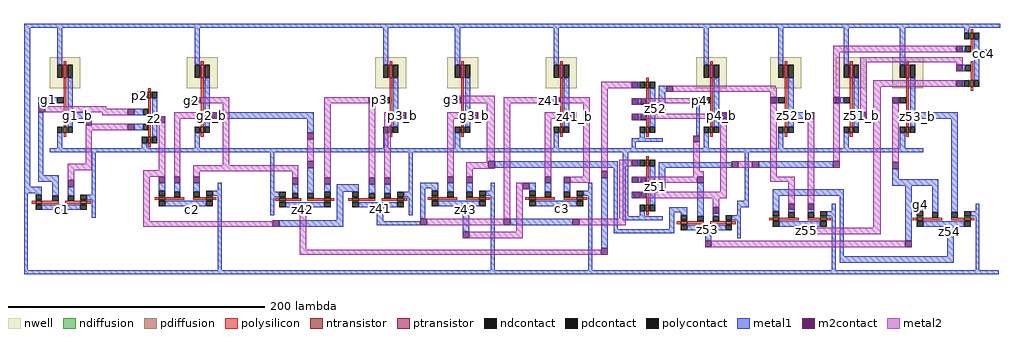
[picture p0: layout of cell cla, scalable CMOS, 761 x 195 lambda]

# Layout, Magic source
magic
tech scmos
<< metal1 >>
rect -20 97 1 100
rect 24 97 108 100
rect 130 97 254 100
rect 278 97 310 100
rect 333 97 390 100
rect 410 97 505 100
rect 527 97 741 100
rect -20 -27 -15 97
rect 475 47 481 52
rect -9 38 1 43
rect -9 36 -4 38
rect -9 -18 -5 31
rect 24 26 33 31
rect 475 31 480 47
rect 131 26 206 31
rect 201 15 206 26
rect 504 13 507 38
rect 586 26 591 31
rect 681 26 708 31
rect 454 3 457 11
rect 24 0 107 3
rect 130 0 254 3
rect 278 0 316 3
rect 334 0 389 3
rect 411 0 506 3
rect 528 0 616 3
rect 617 0 681 3
rect -9 -23 7 -18
rect 2 -27 7 -23
rect -20 -32 -11 -27
rect 33 -28 36 0
rect 172 -25 175 0
rect 201 -25 206 -12
rect 280 -25 283 0
rect 347 -12 443 -7
rect 224 -31 239 -25
rect 289 -28 298 -24
rect -20 -92 -17 -32
rect 131 -92 134 -48
rect 224 -53 229 -31
rect 179 -58 229 -53
rect 255 -54 260 -46
rect 289 -52 293 -28
rect 255 -57 289 -54
rect 322 -62 327 -46
rect 344 -92 347 -48
rect 359 -57 408 -52
rect 420 -92 423 -46
rect 430 -75 435 -20
rect 440 -60 443 -12
rect 447 -50 451 0
rect 475 -12 532 -8
rect 475 -30 480 -12
rect 483 -47 493 -43
rect 505 -44 510 -24
rect 542 -38 545 0
rect 553 -12 611 -7
rect 657 -21 662 -13
rect 657 -26 693 -21
rect 536 -43 545 -38
rect 564 -34 619 -29
rect 564 -40 569 -34
rect 447 -53 456 -50
rect 483 -60 487 -47
rect 440 -63 487 -60
rect 511 -69 516 -64
rect 610 -92 613 -64
rect 616 -81 619 -34
rect 667 -69 672 -26
rect 688 -40 693 -26
rect 703 -40 708 26
rect 700 -81 705 -62
rect 616 -86 705 -81
rect 722 -92 725 -63
rect -20 -95 740 -92
<< m2contact >>
rect 707 78 712 83
rect 707 63 712 68
rect 454 50 459 55
rect 481 47 486 52
rect 707 51 712 56
rect 107 38 112 43
rect 249 38 254 43
rect 310 38 315 43
rect 382 38 387 43
rect 454 37 459 42
rect -9 31 -4 36
rect 61 29 66 34
rect 504 38 509 43
rect 562 38 567 43
rect 611 38 616 43
rect 657 38 662 43
rect 28 21 33 26
rect 85 23 90 28
rect 126 26 131 31
rect 273 26 278 31
rect 329 26 334 31
rect 406 26 411 31
rect 61 17 66 22
rect 454 25 459 30
rect 201 10 206 15
rect 523 26 528 31
rect 591 26 596 31
rect 632 26 637 31
rect 502 8 507 13
rect 14 -27 19 -22
rect 85 -24 90 -19
rect 97 -24 102 -19
rect 112 -24 117 -19
rect 201 -12 206 -7
rect 189 -25 194 -20
rect 214 -25 219 -20
rect 249 -25 254 -20
rect 261 -25 266 -20
rect 342 -12 347 -7
rect 310 -24 315 -19
rect 325 -24 330 -19
rect 386 -24 391 -19
rect 401 -24 406 -19
rect 430 -20 435 -15
rect 195 -47 200 -42
rect 174 -58 179 -53
rect 369 -29 374 -24
rect 289 -57 294 -52
rect 322 -67 327 -62
rect 354 -57 359 -52
rect 408 -57 413 -52
rect 454 -11 459 -6
rect 532 -12 537 -7
rect 454 -24 459 -19
rect 505 -24 510 -19
rect 455 -36 460 -31
rect 548 -12 553 -7
rect 611 -12 616 -7
rect 657 -13 662 -8
rect 517 -48 522 -43
rect 576 -45 581 -40
rect 591 -45 596 -40
rect 588 -64 593 -59
rect 511 -74 516 -69
rect 430 -80 435 -75
rect 667 -74 672 -69
<< metal2 >>
rect 611 78 707 83
rect 430 50 454 55
rect 112 38 140 43
rect -4 34 44 36
rect -4 31 61 34
rect 41 29 61 31
rect 33 21 61 22
rect 28 17 61 21
rect 28 -9 33 17
rect 14 -14 33 -9
rect 85 -14 90 23
rect 14 -22 19 -14
rect 73 -19 90 -14
rect 73 -54 78 -19
rect 97 26 126 31
rect 97 -19 102 26
rect 135 -10 140 38
rect 214 38 249 43
rect 315 38 347 44
rect 201 -7 206 10
rect 112 -15 194 -10
rect 112 -19 117 -15
rect 189 -20 194 -15
rect 214 -20 219 38
rect 249 -20 254 38
rect 261 26 273 31
rect 310 26 329 31
rect 261 -20 266 26
rect 310 -19 315 26
rect 341 -7 347 38
rect 341 -8 342 -7
rect 325 -12 342 -8
rect 325 -13 347 -12
rect 354 38 382 43
rect 387 38 421 43
rect 325 -19 330 -13
rect 73 -58 174 -54
rect 195 -76 200 -47
rect 354 -52 359 38
rect 386 26 406 31
rect 386 -19 391 26
rect 416 -19 421 38
rect 406 -24 421 -19
rect 430 -15 435 50
rect 486 50 566 52
rect 486 47 567 50
rect 562 43 567 47
rect 459 38 504 42
rect 459 26 523 30
rect 444 -11 454 -6
rect 294 -57 354 -52
rect 364 -62 369 -24
rect 444 -52 449 -11
rect 502 -15 507 8
rect 502 -19 510 -15
rect 459 -24 505 -19
rect 523 -31 528 26
rect 537 -12 548 -7
rect 562 -19 567 38
rect 611 43 616 78
rect 632 70 712 74
rect 616 38 617 43
rect 562 -23 581 -19
rect 460 -36 528 -31
rect 517 -43 522 -36
rect 576 -40 581 -23
rect 591 -40 596 26
rect 611 -7 616 38
rect 632 31 637 70
rect 707 68 712 70
rect 642 51 707 56
rect 413 -57 449 -52
rect 642 -59 648 51
rect 657 -8 662 38
rect 327 -67 369 -62
rect 593 -64 648 -59
rect 516 -74 667 -69
rect 195 -80 430 -76
use not  not_0
transform 1 0 0 0 1 47
box 0 -47 24 53
use and  and_1
transform -1 0 90 0 1 30
box 0 -30 24 20
use not  not_1
transform 1 0 107 0 1 47
box 0 -47 24 53
use not  not_2
transform 1 0 254 0 1 47
box 0 -47 24 53
use not  not_3
transform 1 0 310 0 1 47
box 0 -47 24 53
use not  not_4
transform 1 0 387 0 1 47
box 0 -47 24 53
use and  and_4
transform -1 0 478 0 1 38
box 0 -30 24 20
use not  not_5
transform 1 0 504 0 1 47
box 0 -47 24 53
use not  not_6
transform 1 0 562 0 1 47
box 0 -47 24 53
use not  not_7
transform 1 0 613 0 1 47
box 0 -47 24 53
use not  not_8
transform 1 0 657 0 1 47
box 0 -47 24 53
use or  or_5
transform -1 0 731 0 1 80
box 0 -32 24 20
use and  and_0
transform 0 -1 6 1 0 -51
box 0 -30 24 20
use or  or_0
transform 0 1 114 1 0 -48
box 0 -32 24 20
use and  and_2
transform 0 1 202 1 0 -49
box 0 -30 24 20
use and  and_3
transform 0 -1 253 1 0 -49
box 0 -30 24 20
use or  or_1
transform 0 1 327 1 0 -48
box 0 -32 24 20
use or  or_2
transform 0 1 403 1 0 -48
box 0 -32 24 20
use and  and_5
transform -1 0 478 0 1 -23
box 0 -30 24 20
use and  and_6
transform 0 -1 509 1 0 -67
box 0 -30 24 20
use or  or_4
transform 0 1 593 1 0 -64
box 0 -32 24 20
use or  or_3
transform 0 1 705 1 0 -64
box 0 -32 24 20
<< labels >>
rlabel metal1 -1 41 -1 41 1 g1
rlabel space 22 29 22 29 1 g1_b
rlabel space 10 -45 10 -45 1 c1
rlabel m2contact 110 40 111 41 1 g2
rlabel m2contact 126 29 126 29 7 g2_b
rlabel space 70 44 70 44 1 p2
rlabel space 111 -45 111 -45 1 c2
rlabel space 257 41 257 41 1 p3
rlabel m2contact 197 -45 198 -45 1 z42
rlabel space 258 -44 258 -44 1 z41
rlabel space 324 -45 324 -45 1 z43
rlabel space 400 -44 400 -44 1 c3
rlabel metal2 390 40 390 40 1 z41
rlabel m2contact 409 28 409 28 1 z41_b
rlabel space 472 -27 472 -27 1 z51
rlabel space 472 34 472 34 1 z52
rlabel m2contact 507 40 507 40 1 p4
rlabel m2contact 524 29 524 29 7 p4_b
rlabel m2contact 313 41 313 41 1 g3
rlabel m2contact 331 29 331 29 1 g3_b
rlabel m2contact 275 29 275 29 1 p3_b
rlabel space 513 -60 513 -60 1 z53
rlabel space 581 29 581 29 1 z52_b
rlabel m2contact 633 29 633 29 1 z51_b
rlabel space 677 28 677 28 7 z53_b
rlabel space 679 -41 679 -41 1 g4
rlabel m2contact 590 -61 590 -61 1 z55
rlabel metal1 702 -62 702 -62 1 z54
rlabel space 728 77 728 77 1 cc4
rlabel space 82 26 82 26 1 z2
<< end >>

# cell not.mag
magic
tech scmos
<< nwell >>
rect 0 3 24 27
<< ntransistor >>
rect 11 -32 13 -27
<< ptransistor >>
rect 11 11 13 21
<< ndiffusion >>
rect 10 -32 11 -27
rect 13 -32 14 -27
<< pdiffusion >>
rect 10 11 11 21
rect 13 11 14 21
<< ndcontact >>
rect 6 -32 10 -27
rect 14 -32 18 -27
<< pdcontact >>
rect 6 11 10 21
rect 14 11 18 21
<< polysilicon >>
rect 11 21 13 24
rect 11 -27 13 11
rect 11 -35 13 -32
<< polycontact >>
rect 6 -9 11 -4
<< metal1 >>
rect 0 50 24 53
rect 6 21 10 50
rect 0 -9 6 -4
rect 14 -16 18 11
rect 14 -21 24 -16
rect 14 -27 18 -21
rect 6 -44 10 -32
rect 0 -47 24 -44
<< end >>

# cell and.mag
magic
tech scmos
<< ntransistor >>
rect 11 12 13 17
rect 11 -23 13 -18
<< ndiffusion >>
rect 10 12 11 17
rect 13 12 14 17
rect 10 -23 11 -18
rect 13 -23 14 -18
<< ndcontact >>
rect 6 12 10 17
rect 14 12 18 17
rect 6 -23 10 -18
rect 14 -23 18 -18
<< polysilicon >>
rect 11 17 13 20
rect 11 -1 13 12
rect 11 -18 13 -6
rect 11 -26 13 -23
<< polycontact >>
rect 13 -1 17 4
rect 13 -13 17 -8
<< metal1 >>
rect 18 12 24 17
rect 6 -2 10 12
rect 17 -1 24 4
rect 3 -7 10 -2
rect 6 -18 10 -7
rect 17 -13 24 -8
rect 14 -27 18 -23
rect 0 -30 24 -27
<< end >>

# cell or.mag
magic
tech scmos
<< ntransistor >>
rect 11 8 13 13
rect 11 -29 13 -24
<< ndiffusion >>
rect 10 8 11 13
rect 13 8 14 13
rect 10 -29 11 -24
rect 13 -29 14 -24
<< ndcontact >>
rect 6 8 10 13
rect 14 8 18 13
rect 6 -29 10 -24
rect 14 -29 18 -24
<< polysilicon >>
rect 11 13 13 16
rect 11 -2 13 8
rect 11 -24 13 -9
rect 11 -32 13 -29
<< polycontact >>
rect 13 -2 17 3
rect 13 -17 17 -12
<< metal1 >>
rect 0 17 24 20
rect 14 13 18 17
rect 6 0 10 8
rect 0 -5 10 0
rect 17 -2 24 3
rect 6 -24 10 -5
rect 17 -17 24 -12
rect 18 -29 24 -24
<< end >>
